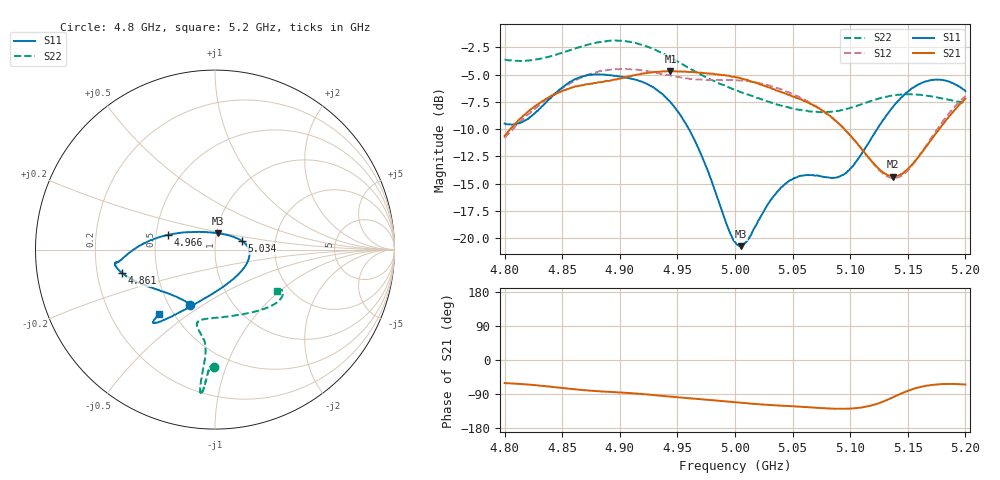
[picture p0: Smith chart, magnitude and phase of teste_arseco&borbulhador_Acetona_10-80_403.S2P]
! Network Analyzer HP8722D
! Hewlett-Packard
! Data name: Linha & Wilkinson
! Saver's name: Rodrigo Anjos
! Comments: Teste da utilização de aquisição
! continua pelo VNA HP8722D
! Time and date: 17/4/2025 17:43
!  Frequency  S11  S21  S12  S22
# HZ  S  MA R 50
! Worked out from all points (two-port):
!   401 points, 4.8 GHz to 5.2 GHz, reference 50 ohm
!   highest |S21| = -4.68 dB at 4.944 GHz (marker M1); lowest = -14.3 dB at 5.137 GHz (marker M2)
!   |S21| within 3 dB of the highest: 4.829 GHz to 5.066 GHz (236.1 MHz wide, 4.77 % of centre); 5.195467 GHz to end of sweep
!   lowest |S11| = -20.7 dB at 5.005 GHz (marker M3), VSWR 1.20, Z = 50.6 + j9.29 ohm
!   |S11| at or under -10 dB: 4.96 GHz to 5.123 GHz (163.4 MHz wide, 3.24 % of centre)
!   |S22| runs from -8.5 to -1.9 dB; largest |S21 - S12| = 0.88
!   S11 on the Smith chart (normalised r, x): 4.8 GHz: 0.64, -0.44; 4.861 GHz: 0.31, -0.11; 4.966 GHz: 0.58, +0.10; 5.034 GHz: 1.34, +0.13; 5.2 GHz: 0.42, -0.39
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4.8e9  0.3356 -114.1  0.2942 -60.9  0.2882 -175.2  0.6563 -90.3
4.819e9  0.3497 -134.0  0.3751 -64.4  0.3638 -174.0  0.6515 -91.9
4.861e9  0.535 -165.8  0.4955 -77.2  0.5271 -177.2  0.7393 -94.2
4.867e9  0.55 -168.3  0.5032 -79.1  0.5464 -178.3  0.7578 -94.3
4.899e9  0.5519 -172.7  0.5376 -85.6  0.5944 175.0  0.8026 -95.6
4.934e9  0.471 -178.4  0.5786 -93.9  0.571 171.4  0.7154 -95.9
4.944e9  0.4202 177.0  0.5833 -96.9  0.5552 171.5  0.6727 -95.8
4.966e9  0.2735 162.6  0.5749 -102.3  0.5338 173.5  0.5787 -95.2
5e9  0.09639 99.4  0.5482 -111.4  0.5297 175.8  0.4792 -99.3
5.005e9  0.09216 80.9  0.5408 -112.8  0.5279 175.9  0.4666 -100.5
5.012e9  0.1 57.5  0.5274 -114.6  0.5238 175.5  0.4544 -101.9
5.034e9  0.157 18.0  0.4819 -119.4  0.493 174.6  0.4138 -103.5
5.049e9  0.1855 3.0  0.4492 -121.7  0.4596 174.0  0.3937 -99.9
5.067e9  0.1949 -16.3  0.4099 -125.2  0.4124 173.4  0.3806 -90.1
5.086e9  0.1895 -46.5  0.3504 -128.5  0.3501 173.6  0.3813 -75.8
5.097e9  0.2004 -69.0  0.3081 -128.5  0.3084 174.8  0.3922 -66.9
5.123e9  0.3142 -108.7  0.2129 -115.9  0.211 -170.4  0.4338 -48.5
5.134e9  0.3808 -117.4  0.1937 -102.8  0.1901 -155.8  0.4482 -43.0
5.137e9  0.399 -119.1  0.1917 -98.7  0.1891 -151.0  0.4516 -41.8
5.151e9  0.474 -125.2  0.2102 -80.3  0.2076 -129.7  0.4572 -36.6
5.17e9  0.5296 -129.5  0.2812 -66.1  0.2869 -112.4  0.4471 -32.1
5.2e9  0.4725 -130.9  0.4359 -64.8  0.4483 -106.9  0.4159 -33.6
